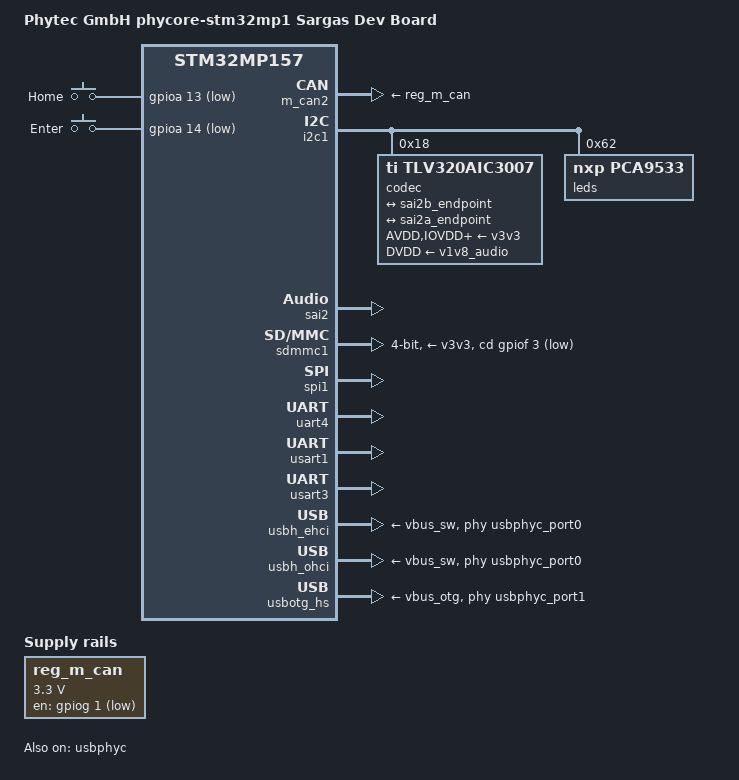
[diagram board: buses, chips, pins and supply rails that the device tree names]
// SPDX-License-Identifier: (GPL-2.0+ OR BSD-3-Clause)
/*
 * Copyright (C) PHYTEC GmbH 2019-2020 - All Rights Reserved
 * Author: Dom VOVARD <dom.vovard@linrt.com>.
 */

#include "phyboard-stm32mp1-pinctrl.dtsi"
#include <dt-bindings/leds/leds-pca9532.h>

/ {
        model = "Phytec GmbH phycore-stm32mp1 Sargas Dev Board";
        compatible = "phytec,pcm939-1517-2", "st,stm32mp157";

	aliases {
		ethernet0 = &ethernet0;
		rtc0	= &i2c4_rtc;
		rtc1	= &rtc;
		serial0 = &uart4;
                serial1 = &usart3;
                serial2 = &usart1;
        };

	chosen {
		stdout-path = "serial0:115200n8";
	};

        sound {
                compatible = "audio-graph-card";
                label = "STM32MP1-PHYCORE";
                routing =
			"Playback", "MCLK", /* Set a route between "MCLK" and "playback" widgets */
			"Capture", "MCLK";
                dais = <&sai2b_port &sai2a_port>;
                status = "okay";
        };

	gpio-keys {
		compatible = "gpio-keys";
		status = "okay";

		home {
			label = "Home";
			gpios = <&gpioa 13 GPIO_ACTIVE_LOW>;
			linux,code = <KEY_HOME>;
		};

		enter {
			label = "Enter";
			gpios = <&gpioa 14 GPIO_ACTIVE_LOW>;
			linux,code = <KEY_ENTER>;
		};
	};

	usb_phy_tuning: usb-phy-tuning {
		st,hs-dc-level = <2>;
		st,fs-rftime-tuning;
		st,hs-rftime-reduction;
		st,hs-current-trim = <15>;
		st,hs-impedance-trim = <1>;
		st,squelch-level = <3>;
		st,hs-rx-offset = <2>;
		st,no-lsfs-sc;
	};

	reg_m_can: regulator-mcan {
		compatible = "regulator-fixed";
		regulator-name = "mcan-reg";
		regulator-min-microvolt = <3300000>;
		regulator-max-microvolt = <3300000>;
		gpio = <&gpiog 1 GPIO_ACTIVE_HIGH>;
		status = "okay";
	};
};

&m_can2 {
        pinctrl-names = "default", "sleep";
        pinctrl-0 = <&m_can2_pins_a>;
        pinctrl-1 = <&m_can2_sleep_pins_a>;
	 xceiver-supply = <&reg_m_can>;
        status = "okay";
};

&i2c1 {
        pinctrl-names = "default", "sleep";
        pinctrl-0 = <&i2c1_pins_a>;
        pinctrl-1 = <&i2c1_pins_sleep_a>;
        i2c-scl-rising-time-ns = <100>;
        i2c-scl-falling-time-ns = <7>;
        status = "okay";
        /delete-property/dmas;
        /delete-property/dma-names;

        codec: tlv320@18 {
                compatible = "ti,tlv320aic3007";
                #sound-dai-cells = <0>;
                reg = <0x18>;
		status = "okay";

                ai3x-micbias-vg = <2>;

                /* gpio-reset = <&gpio5 8 GPIO_ACTIVE_LOW>; */
                AVDD-supply = <&v3v3>;
                IOVDD-supply = <&v3v3>;
                DRVDD-supply = <&v3v3>;
                DVDD-supply = <&v1v8_audio>;

                clocks = <&sai2b>;
                clock-names = "MCLK";



		tlv320_port: port {
			#address-cells = <1>;
			#size-cells = <0>;

			tlv320_tx_endpoint: endpoint@0 {
                                reg = <0>;
				remote-endpoint = <&sai2b_endpoint>;
                                frame-master;
                                bitclock-master;
			};

			tlv320_rx_endpoint: endpoint@1 {
                                reg = <1>;
				remote-endpoint = <&sai2a_endpoint>;
                                frame-master;
                                bitclock-master;
			};
		};
        };

	stmpe_touch: stmpe811@44 {
		compatible = "st,stmpe811";
		reg = <0x44>;
                interrupts = <3 2>;
                interrupt-parent = <&gpioi>;
		vio-supply = <&v3v3>;
		vcc-supply = <&v3v3>;
                status = "disabled";

		stmpe_touchscreen {
			compatible = "st,stmpe-ts";
			st,sample-time = <4>;
			st,mod-12b = <1>;
			st,ref-sel = <0>;
			st,adc-freq = <1>;
			st,ave-ctrl = <1>;
			st,touch-det-delay = <2>;
			st,settling = <2>;
			st,fraction-z = <7>;
			st,i-drive = <1>;
		};
	};

	leds: pca9533@62 {
		compatible = "nxp,pca9533";
		reg = <0x62>;
		status = "okay";

		red-power {
			label = "pca:red:power";
			type = <PCA9532_TYPE_LED>;
		};

		green-power {
			label = "pca:green:power";
			type = <PCA9532_TYPE_LED>;
		};

		blue-power {
			type = <PCA9532_TYPE_LED>;
			linux,default-trigger = "heartbeat";
		};
	};
};

&i2c2 {
	status = "disabled";
};


&sai2 {
	clocks = <&rcc SAI2>, <&rcc PLL3_Q>, <&rcc PLL3_R>;
	clock-names = "pclk", "x8k", "x11k";
	pinctrl-names = "default", "sleep";
	pinctrl-0 = <&sai2a_pins_b>, <&sai2b_pins_a>;
	pinctrl-1 = <&sai2a_sleep_pins_b>, <&sai2b_sleep_pins_a>;
	status = "okay";

        sai2a: audio-controller@4400b004 {
                compatible = "st,stm32-sai-sub-a";
		dma-names = "rx";
		st,sync = <&sai2b 2>;
		status = "okay";
		clocks = <&rcc SAI2_K>, <&sai2b>;
		clock-names = "sai_ck", "MCLK";

		sai2a_port: port {
			sai2a_endpoint: endpoint {
				remote-endpoint = <&tlv320_rx_endpoint>;
				format = "i2s";
				mclk-fs = <256>;
                                dai-tdm-slot-num = <2>;
                                dai-tdm-slot-width = <16>;
			};
		};
	};

        sai2b: audio-controller@4400b024 {
		compatible = "st,stm32-sai-sub-b";
                #clock-cells = <0>;
                dma-names = "tx";
                clocks = <&rcc SAI2_K>;
                clock-names = "sai_ck";
                status = "okay";

                sai2b_port: port {
                        sai2b_endpoint: endpoint {
                                remote-endpoint = <&tlv320_tx_endpoint>;
                                format = "i2s";
                                mclk-fs = <256>;
                                dai-tdm-slot-num = <2>;
                                dai-tdm-slot-width = <16>;
                        };
                };
        };
};

&sdmmc1 {
	pinctrl-names = "default", "opendrain", "sleep";
	pinctrl-0 = <&sdmmc1_b4_pins_a>;
	pinctrl-1 = <&sdmmc1_b4_od_pins_a>;
	pinctrl-2 = <&sdmmc1_b4_sleep_pins_a>;
	cd-gpios = <&gpiof 3 GPIO_ACTIVE_LOW>;  
	st,neg-edge;
	bus-width = <4>;
	max-frequency = <10000000>;
	vmmc-supply = <&v3v3>;
	status = "okay";
};


&spi1 {
        pinctrl-names = "default", "sleep";
        pinctrl-0 = <&spi1_pins_a>;
        pinctrl-1 = <&spi1_sleep_pins_a>;
        status = "okay";
};


&uart4 {
	pinctrl-names = "default", "sleep", "idle", "no_console_suspend";
	pinctrl-0 = <&uart4_pins_a>;
	pinctrl-1 = <&uart4_sleep_pins_a>;
	pinctrl-2 = <&uart4_idle_pins_a>;
	pinctrl-3 = <&uart4_pins_a>;
	status = "okay";
};

&usart1 {
        pinctrl-names = "default", "sleep", "idle";
        pinctrl-0 = <&usart1_pins_a &usart1_pins_b>;
        pinctrl-1 = <&usart1_sleep_pins_a &usart1_sleep_pins_b>;
        pinctrl-2 = <&usart1_idle_pins_a &usart1_idle_pins_b>;
        /*st,hw-flow-ctrl;*/
	/*linux,rs485-enabled-at-boot-time;*/
        status = "okay";
};

&usart3 {
	pinctrl-names = "default", "sleep", "idle";
	pinctrl-0 = <&usart3_pins_b>;
	pinctrl-1 = <&usart3_sleep_pins_b>;
	pinctrl-2 = <&usart3_idle_pins_b>;
	status = "okay";
};

&usbh_ehci {
	phys = <&usbphyc_port0>;
	phy-names = "usb";
	status = "okay";
        vbus-supply = <&vbus_sw>;
};

&usbh_ohci {
        phys = <&usbphyc_port0>;
        phy-names = "usb";
        status = "okay";
        vbus-supply = <&vbus_sw>;
};

&usbotg_hs {
	force-b-session-valid;
	phys = <&usbphyc_port1 0>;
	phy-names = "usb2-phy";
	vbus-supply = <&vbus_otg>;
	status = "okay";
};

&usbphyc {
	vdd3v3-supply = <&vdd_usb>;
	status = "okay";
};

&usbphyc_port0 {
	st,phy-tuning = <&usb_phy_tuning>;
};

&usbphyc_port1 {
	st,phy-tuning = <&usb_phy_tuning>;
};

&vrefbuf {
	regulator-min-microvolt = <2500000>;
	regulator-max-microvolt = <2500000>;
	vdda-supply = <&vdd>;
	status = "disabled";
};

/* Select display interface by commenting/uncommenting the following lines */ 
//#include "phycore-stm32mp1-dsi-lcd-mb1407.dtsi"
//#include "phycore-stm32mp1-dsi-rpi-official-display.dtsi"
//#include "phycore-stm32mp1-peb-av01-hdmi.dtsi"
#include "phycore-stm32mp1-peb-av02-lcd.dtsi"


/* Selected connectors used commenting/uncommenting the following line  */ 
#include "phycore-stm32mp1-pi-hat-extension.dtsi"
//#include "phycore-stm32mp1-pi-hat-redbear.dtsi"
//#include "phycore-stm32mp1-uno-r3-extension.dtsi"
